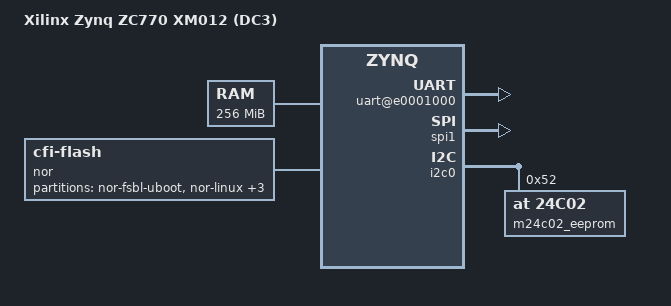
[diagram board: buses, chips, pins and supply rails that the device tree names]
/dts-v1/;

/ {
	model = "Xilinx Zynq ZC770 XM012 (DC3)";
	compatible = "xlnx,zynq-zc770";
	#address-cells = <0x1>;
	#size-cells = <0x1>;
	interrupt-parent = <0x1>;

	memory {
		device_type = "memory";
		reg = <0x0 0x10000000>;
	};

	chosen {
		bootargs = "console=ttyPS0,115200 root=/dev/ram rw earlyprintk";
		linux,stdout-path = "/amba@0/uart@E0001000";
	};

	pmu {
		compatible = "arm,cortex-a9-pmu";
		interrupts = <0 5 4>, <0 6 4>;
		interrupt-parent = <&gic>;
	};


	amba@0 {
		compatible = "simple-bus";
		#address-cells = <0x1>;
		#size-cells = <0x1>;
		ranges;

		gic: intc@f8f01000 {
			interrupt-controller;
			compatible = "arm,cortex-a9-gic";
			#interrupt-cells = <3>;
			reg = < 0xf8f01000 0x1000 >,
				  < 0xf8f00100 0x0100 >;
		};

		pl310@f8f02000
		{
			compatible = "arm,pl310-cache";
			cache-unified;
			cache-level = <2>;
			reg = <0xf8f02000 0x1000>;
			arm,data-latency = <3 2 2>;
			arm,tag-latency = <2 2 2>;
		};

		uart@e0001000 {
			compatible = "xlnx,ps7-uart-1.00.a";
			reg = <0xE0001000 0x1000>;
			interrupts = <0 50 4>;
			interrupt-parent = <&gic>;
			clock = <50000000>;
		};

		slcr: slcr@f8000000 {
			compatible = "xlnx,zynq-slcr";
			reg = <0xF8000000 0x1000>;

			clocks {
				#address-cells = <1>;
				#size-cells = <0>;

				ps_clk: ps_clk {
					#clock-cells = <0>;
					compatible = "fixed-clock";
					clock-frequency = <33333333>;
					clock-output-names = "PS_CLK";
				};
			};
		};

		timer@0xf8001000 {
			compatible = "xlnx,ps7-ttc-1.00.a";
			reg = <0xf8001000 0x1000>;
			interrupts = <0 10 4>,<0 11 4>,<0 12 4>;
			interrupt-parent = <&gic>;
		};

		swdt@f8005000 {
			device_type = "watchdog";
			compatible = "xlnx,ps7-wdt-1.00.a";
			reg = <0xf8005000 0x100>;
			interrupts = <0 9 4>;
			interrupt-parent = <&gic>;
			reset = <0>;
			timeout = <10>;
		};

		scuwdt@f8f00620 {
			device_type = "watchdog";
			compatible = "arm,mpcore_wdt";
			reg = <0xf8f00620 0x20>;
			clock-frequency = <400000000>;
			reset = <1>;
		};

		spi1: spi@e0007000 {
			compatible = "xlnx,ps7-spi-1.00.a";
			reg = <0xE0007000 0x1000>;
			interrupts = <0 49 4>;
			interrupt-parent = <&gic>;
			speed-hz = <166666700>;
			bus-num = <0>;
			num-chip-select = <4>;
		};

		i2c0: i2c@e0004000 {
			compatible = "xlnx,ps7-i2c-1.00.a";
			reg = <0xE0004000 0x1000>;
			interrupts = <0 25 4>;
			interrupt-parent = <&gic>;
			bus-id = <0>;
			input-clk = <133000000>;
			i2c-clk = <400000>;

			#address-cells = <1>;
			#size-cells = <0>;
			m24c02_eeprom@52 {
				compatible = "at,24c02";
				reg = <0x52>;
			};
		};

		nor: nor@e2000000 {
			compatible = "cfi-flash";
			bank-width = <1>;
			reg = <0xE2000000 0x2000000>; /* 32MB */
			#address-cells = <1>;
			#size-cells = <1>;
			partition@nor-fsbl-uboot {
				label = "nor-fsbl-uboot";
				reg = <0x0 0x100000>;
			};
			partition@nor-linux {
				label = "nor-linux";
				reg = <0x100000 0x500000>;
			};
			partition@nor-device-tree {
				label = "nor-device-tree";
				reg = <0x600000 0x20000>;
			};
			partition@nor-rootfs {
				label = "nor-rootfs";
				reg = <0x620000 0x5E0000>;
			};
			partition@nor-bitstream {
				label = "nor-bitstream";
				reg = <0xC00000 0x400000>;
			};
		};

		devcfg@f8007000 {
			compatible = "xlnx,ps7-dev-cfg-1.00.a";
			reg = <0xf8007000 0x1000>;
			interrupts = <0 8 4>;
			interrupt-parent = <&gic>;
		};

		gpio@e000a000 {
			compatible = "xlnx,ps7-gpio-1.00.a";
			reg = <0xe000a000 0x1000>;
			interrupts = <0 20 4>;
			interrupt-parent = <&gic>;
		};
		ps7_dma_s: ps7-dma@f8003000 {
			compatible = "xlnx,ps7-dma-1.00.a";
			interrupt-parent = <&gic>;
			interrupts = < 0 13 4 0 14 4 0 15 4 0 16 4  0 17 4 0 40 4 0 41 4 0 42 4 0 43 4 >;
			reg = < 0xf8003000 0x1000 >;
		} ;

	};
};
